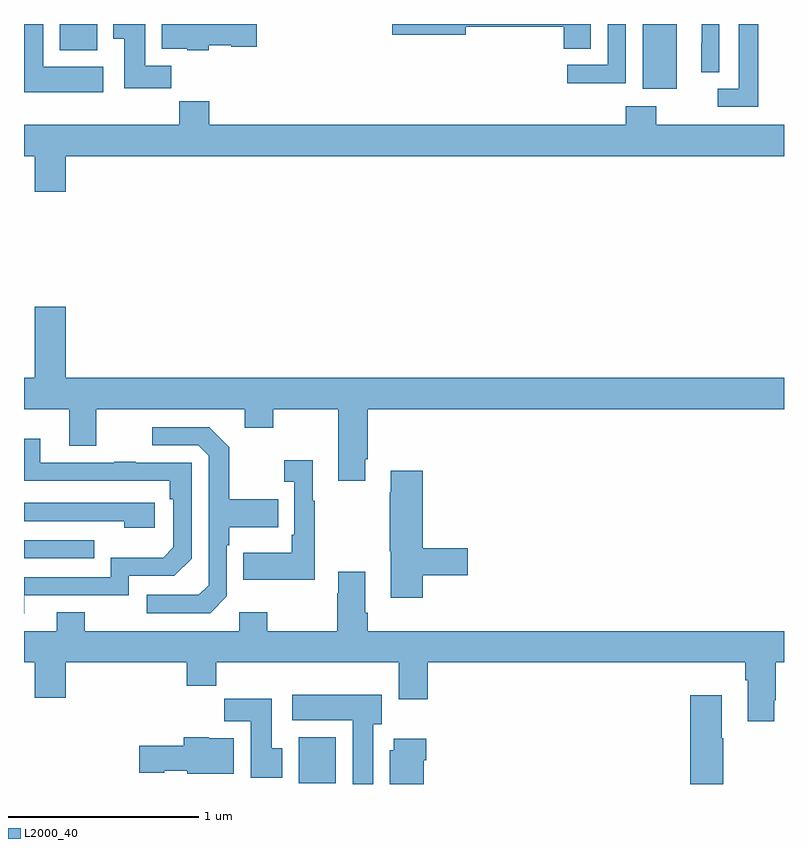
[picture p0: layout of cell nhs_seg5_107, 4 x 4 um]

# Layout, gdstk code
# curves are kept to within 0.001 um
import gdstk
lib = gdstk.Library(unit=1e-6, precision=1e-09)
def R(c, l, rs):  # rectangles x0, y0, x1, y1
    for r in rs: c.add(gdstk.rectangle(r[:2], r[2:], *l))
def P(c, l, *ps):  # polygons
    for p in ps: c.add(gdstk.Polygon(p, *l))
L2000_40 = (2000, 40)

nhs_seg5_107 = lib.new_cell('nhs_seg5_107')
R(nhs_seg5_107, L2000_40, [(118.445,842.804,118.642,843.046), (117,843.987,117.371,844.083), (120.257,846.458,120.436,846.799), (117.188,846.662,117.385,846.799)])
P(nhs_seg5_107, L2000_40, [(119.983,846.799),(118.938,846.799),(118.938,846.742),(119.326,846.742),(119.326,846.784),(119.84,846.784),(119.84,846.67),(119.983,846.67)],
  [(117.972,846.686),(118.092,846.686),(118.092,846.679),(118.225,846.679),(118.225,846.799),(117.725,846.799),(117.725,846.668),(117.858,846.668),(117.858,846.662),(117.972,846.662)],
  [(117.776,846.58),(117.637,846.58),(117.637,846.799),(117.47,846.799),(117.47,846.721),(117.527,846.721),(117.527,846.462),(117.776,846.462)],
  [(117.418,846.574),(117.1,846.574),(117.1,846.799),(117,846.799),(117,846.44),(117.418,846.44)],
  [(120.865,846.799),(120.761,846.799),(120.761,846.459),(120.651,846.459),(120.651,846.363),(120.865,846.363)],
  [(120.66,846.799),(120.566,846.799),(120.566,846.698),(120.564,846.698),(120.564,846.544),(120.66,846.544)],
  [(120.168,846.799),(120.072,846.799),(120.072,846.585),(119.859,846.585),(119.859,846.487),(120.168,846.487)],
  [(117.22,846.104),(121,846.104),(121,846.268),(120.327,846.268),(120.327,846.367),(120.167,846.367),(120.167,846.268),(117.974,846.268),(117.974,846.392),(117.817,846.392),(117.817,846.268),(117,846.268),(117,846.104),(117.056,846.104),(117.056,845.916),(117.22,845.916)],
  [(118.795,844.507),(118.808,844.507),(118.808,844.772),(121,844.772),(121,844.936),(117.22,844.936),(117.22,845.311),(117.056,845.311),(117.056,844.936),(117,844.936),(117,844.772),(117.239,844.772),(117.239,844.578),(117.379,844.578),(117.379,844.772),(118.163,844.772),(118.163,844.673),(118.311,844.673),(118.311,844.772),(118.655,844.772),(118.655,844.395),(118.795,844.395)],
  [(118.068,843.786),(118.068,844.055),(118.081,844.055),(118.081,844.151),(118.337,844.151),(118.337,844.299),(118.081,844.299),(118.081,844.571),(117.975,844.677),(117.675,844.677),(117.675,844.581),(117.918,844.581),(117.972,844.527),(117.972,843.846),(117.921,843.795),(117.645,843.795),(117.645,843.699),(117.981,843.699)],
  [(117.001,843.792),(117.552,843.792),(117.552,843.894),(117.792,843.894),(117.882,843.984),(117.882,844.491),(117.587,844.491),(117.587,844.496),(117.475,844.496),(117.475,844.491),(117.085,844.491),(117.085,844.615),(117,844.615),(117,844.396),(117.766,844.395),(117.766,844.298),(117.786,844.298),(117.786,844.044),(117.733,843.991),(117.456,843.991),(117.456,843.888),(117,843.888),(117,843.696)],
  [(118.531,844.291),(118.519,844.291),(118.519,844.504),(118.371,844.504),(118.371,844.391),(118.422,844.391),(118.422,844.111),(118.41,844.111),(118.41,844.015),(118.153,844.015),(118.153,843.875),(118.531,843.875)],
  [(119.099,843.898),(119.335,843.898),(119.335,844.04),(119.099,844.04),(119.099,844.447),(118.931,844.447),(118.931,844.334),(118.924,844.334),(118.924,844.023),(118.931,844.023),(118.931,843.78),(119.099,843.78)],
  [(117.688,844.278),(117,844.278),(117,844.182),(117.527,844.182),(117.527,844.148),(117.688,844.148)],
  [(120.949,843.241),(120.957,843.241),(120.957,843.44),(121,843.44),(121,843.604),(118.808,843.604),(118.808,843.7),(118.795,843.7),(118.795,843.916),(118.655,843.916),(118.655,843.803),(118.648,843.803),(118.648,843.604),(118.281,843.604),(118.281,843.703),(118.134,843.703),(118.134,843.604),(117.321,843.604),(117.321,843.703),(117.173,843.703),(117.173,843.604),(117,843.604),(117,843.44),(117.056,843.44),(117.056,843.252),(117.22,843.252),(117.22,843.44),(117.857,843.44),(117.857,843.316),(118.013,843.316),(118.013,843.44),(118.973,843.44),(118.973,843.246),(119.126,843.246),(119.126,843.44),(120.797,843.44),(120.797,843.344),(120.809,843.344),(120.809,843.129),(120.949,843.129)],
  [(118.837,843.114),(118.882,843.114),(118.882,843.268),(118.413,843.268),(118.413,843.134),(118.73,843.134),(118.73,842.799),(118.837,842.799)],
  [(120.681,843.041),(120.673,843.041),(120.673,843.265),(120.506,843.265),(120.506,842.799),(120.681,842.799)],
  [(118.36,842.988),(118.303,842.988),(118.303,843.247),(118.054,843.247),(118.054,843.128),(118.193,843.128),(118.193,842.832),(118.36,842.832)],
  [(118.105,843.04),(117.972,843.04),(117.972,843.046),(117.842,843.046),(117.842,843),(117.606,843),(117.606,842.858),(117.738,842.858),(117.738,842.87),(117.858,842.87),(117.858,842.852),(118.105,842.852)],
  [(119.104,842.924),(119.117,842.924),(119.117,843.037),(118.946,843.037),(118.946,842.976),(118.925,842.976),(118.925,842.799),(119.104,842.799)])

lib.write_gds('nhs_seg5_107.gds')
